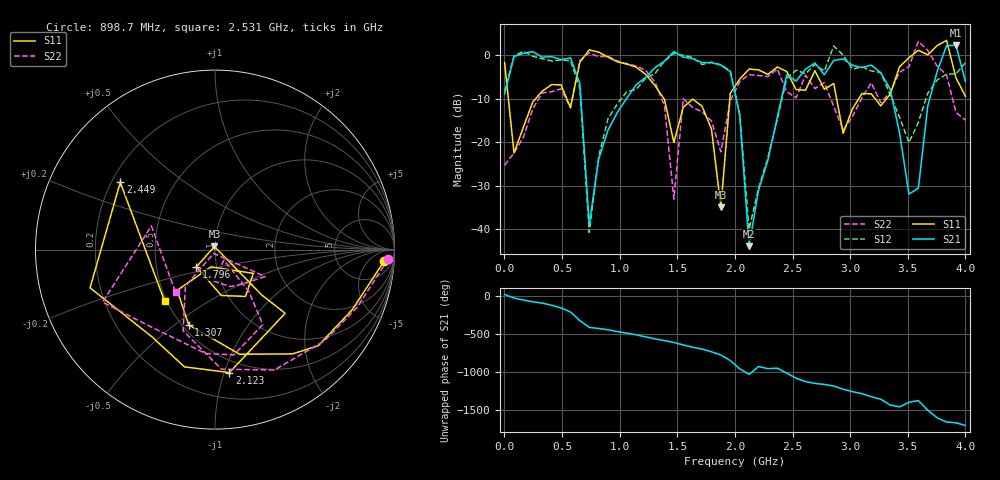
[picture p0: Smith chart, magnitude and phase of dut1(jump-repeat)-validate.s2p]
!Created with skrf (http://scikit-rf.org).
# GHz S DB R 50.0
!freq dBS11 angS11 dBS21 angS21 dBS12 angS12 dBS22 angS22
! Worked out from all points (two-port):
!   50 points, 1 MHz to 4 GHz, reference 50 ohm
!   highest |S21| = 2.23 dB at 3.918 GHz (marker M1); lowest = -43.9 dB at 2.123 GHz (marker M2)
!   |S21| within 3 dB of the highest: 78.81 MHz to 455.5 MHz (376.7 MHz wide, 141 % of centre); 1.413 GHz to 1.616 GHz (203.1 MHz wide, 13.4 % of centre) (the widest 2 of 4)
!   lowest |S11| = -35.0 dB at 1.878 GHz (marker M3), VSWR 1.04, Z = 49.6 + j1.73 ohm
!   |S11| at or under -10 dB: 33.53 MHz to 271.5 MHz (237.9 MHz wide, 156 % of centre); 1.384 GHz to 1.956 GHz (572.4 MHz wide, 34.3 % of centre); 2.882 GHz to 3.075 GHz (193 MHz wide, 6.48 % of centre) (the widest 3 of 5)
!   |S22| runs from -33.1 to 3.1 dB; largest |S21 - S12| = 0.85
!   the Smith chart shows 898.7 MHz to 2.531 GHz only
!   S11 on the Smith chart (normalised r, x): 898.7 MHz: 14, -17; 1.307 GHz: 0.54, -0.56; 1.796 GHz: 0.80, -0.16; 2.123 GHz: 0.40, -1.04; 2.449 GHz: 0.23, +0.30; 2.531 GHz: 0.49, -0.33
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0.001  -1.72 -137.3  -8.93 22.5  -8.40 6.2  -25.29 107.0
0.2458367  -10.78 -157.5  0.78 -73.8  -0.30 -68.8  -12.37 -150.1
0.5722857  -12.10 74.8  -0.65 152.3  -1.31 155.2  -12.06 64.4
0.7355102  1.18 52.9  -38.86 -52.0  -40.74 -36.3  0.50 64.9
0.8987347  -0.51 -4.0  -17.22 -83.4  -14.56 -89.7  -0.30 -3.2
1.306796  -7.04 -109.2  -2.90 156.6  -4.23 158.4  -6.27 -111.4
1.388408  -10.19 -132.9  -1.42 133.9  -1.38 133.4  -11.65 -129.0
1.47002  -20.09 -103.6  0.78 108.8  0.38 102.8  -33.08 -108.2
1.551633  -11.99 -31.8  -0.47 76.3  -0.09 78.3  -9.99 -28.3
1.796469  -17.01 -137.1  -1.76 -13.8  -1.62 -13.2  -15.16 -93.6
1.878082  -35.00 101.2  -2.31 -56.7  -2.26 -60.2  -22.21 -50.0
2.041306  -5.55 -42.2  -13.81 121.1  -13.57 113.0  -6.10 -57.4
2.122918  -3.23 -83.3  -43.87 46.8  -39.99 94.5  -4.50 -79.8
2.449367  -3.78 144.6  -4.54 63.5  -5.38 57.3  -8.45 159.6
2.53098  -7.94 -134.5  -5.97 -2.7  -3.48 -4.7  -9.79 -132.5
2.694204  -3.62 -154.6  -1.84 -71.6  -2.17 -65.4  -7.71 -170.2
2.939041  -17.98 140.6  -0.89 -149.1  -0.01 -153.6  -17.28 81.0
3.347102  -9.01 -168.0  -7.80 1.8  -9.07 4.0  -8.54 -158.2
3.591939  1.08 146.9  -30.55 61.3  -15.44 177.0  3.13 152.9
3.836776  3.34 49.8  2.13 137.4  -4.42 171.7  -4.59 61.1
3.918388  -5.25 117.4  2.23 127.6  -4.33 110.2  -13.19 24.1
4  -9.48 115.5  -6.06 92.4  -1.78 70.9  -14.95 67.6
